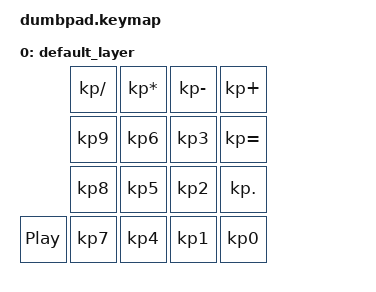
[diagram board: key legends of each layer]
/*
 * Copyright (c) 2022 The ZMK Contributors
 *
 * SPDX-License-Identifier: MIT
 */

#include <behaviors.dtsi>
#include <dt-bindings/zmk/bt.h>
#include <dt-bindings/zmk/keys.h>

/ {
    keymap {
        compatible = "zmk,keymap";

        default_layer {
            bindings = <
                            &kp KP_DIVIDE    &kp KP_MULTIPLY       &kp KP_MINUS         &kp KP_PLUS
                            &kp KP_N9        &kp KP_N6             &kp KP_N3            &kp KP_EQUAL
                            &kp KP_N8        &kp KP_N5             &kp KP_N2            &kp KP_DOT
                &kp C_PP    &kp KP_N7        &kp KP_N4             &kp KP_N1            &kp KP_N0
            >;
        };
    };
};

